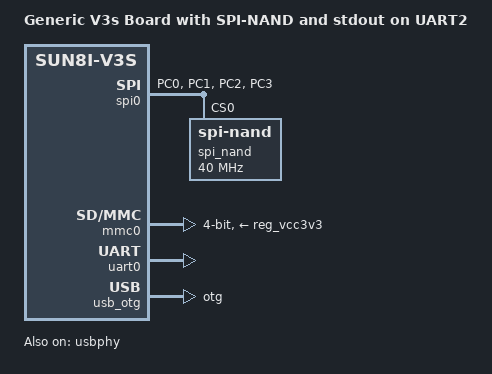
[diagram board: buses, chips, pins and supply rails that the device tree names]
/*
 * Copyright (C) 2019 Benedikt-Alexander Mokroß <bam@icognize.de>
 *
 * This file is dual-licensed: you can use it either under the terms
 * of the GPL or the X11 license, at your option. Note that this dual
 * licensing only applies to this file, and not this project as a
 * whole.
 *
 *  a) This file is free software; you can redistribute it and/or
 *     modify it under the terms of the GNU General Public License as
 *     published by the Free Software Foundation; either version 2 of the
 *     License, or (at your option) any later version.
 *
 *     This file is distributed in the hope that it will be useful,
 *     but WITHOUT ANY WARRANTY; without even the implied warranty of
 *     MERCHANTABILITY or FITNESS FOR A PARTICULAR PURPOSE.  See the
 *     GNU General Public License for more details.
 *
 * Or, alternatively,
 *
 *  b) Permission is hereby granted, free of charge, to any person
 *     obtaining a copy of this software and associated documentation
 *     files (the "Software"), to deal in the Software without
 *     restriction, including without limitation the rights to use,
 *     copy, modify, merge, publish, distribute, sublicense, and/or
 *     sell copies of the Software, and to permit persons to whom the
 *     Software is furnished to do so, subject to the following
 *     conditions:
 *
 *     The above copyright notice and this permission notice shall be
 *     included in all copies or substantial portions of the Software.
 *
 *     THE SOFTWARE IS PROVIDED "AS IS", WITHOUT WARRANTY OF ANY KIND,
 *     EXPRESS OR IMPLIED, INCLUDING BUT NOT LIMITED TO THE WARRANTIES
 *     OF MERCHANTABILITY, FITNESS FOR A PARTICULAR PURPOSE AND
 *     NONINFRINGEMENT. IN NO EVENT SHALL THE AUTHORS OR COPYRIGHT
 *     HOLDERS BE LIABLE FOR ANY CLAIM, DAMAGES OR OTHER LIABILITY,
 *     WHETHER IN AN ACTION OF CONTRACT, TORT OR OTHERWISE, ARISING
 *     FROM, OUT OF OR IN CONNECTION WITH THE SOFTWARE OR THE USE OR
 *     OTHER DEALINGS IN THE SOFTWARE.
 */

/dts-v1/;
#include "sun8i-v3s.dtsi"
#include "sunxi-common-regulators.dtsi"

/ {
	model = "Generic V3s Board with SPI-NAND and stdout on UART2";
	compatible = "allwinner,sun8i-v3s";

	aliases {
		serial0 = &uart0;
		spi0 = &spi0;
	};

	chosen {
		stdout-path = "serial0:115200n8";
	};

	soc {
		spi0: spi@01c68000 {
			compatible = "allwinner,sun8i-h3-spi";
			reg = <0x01c68000 0x1000>;
			interrupts = <GIC_SPI 65 IRQ_TYPE_LEVEL_HIGH>;
			clocks = <&ccu CLK_BUS_SPI0>, <&ccu CLK_SPI0>;
			clock-names = "ahb", "mod";
			pinctrl-names = "default";
			pinctrl-0 = <&spi0_pins>;
			resets = <&ccu RST_BUS_SPI0>;
			status = "okay";
			#address-cells = <1>;
			#size-cells = <0>;
			spi_nand: spi-nand@0 {
				#address-cells = <1>;
				#size-cells = <1>;
				compatible = "spi-nand";
				reg = <0>;
				spi-max-frequency = <40000000>;
			};
		};	
	};
};

&mmc0 {
	pinctrl-0 = <&mmc0_pins_a>;
	pinctrl-names = "default";
	broken-cd;
	bus-width = <4>;
	vmmc-supply = <&reg_vcc3v3>;
	status = "okay";
};

/*
&uart2 {
	pinctrl-0 = <&uart2_pins_a>;
	pinctrl-names = "default";
	status = "okay";
};
*/

&uart0 {
	pinctrl-0 = <&uart0_pins_a>;
	pinctrl-names = "default";
	status = "okay";
};

&usb_otg {
	dr_mode = "otg";
	status = "okay";
};

&usbphy {
	usb0_id_det-gpio = <&pio 5 6 GPIO_ACTIVE_HIGH>;
	status = "okay";
};

&pio {
/*
	uart2_pins_a: uart2@2 {
	 	pins = "PB0", "PB1";
		function = "uart2";
		bias-pull-up;
	};
*/
	spi0_pins: spi0-pins {
		pins = "PC0", "PC1", "PC2", "PC3";
		function = "spi0";
		drive-strength = <10>;
		bias-disable;
	};
	
};
